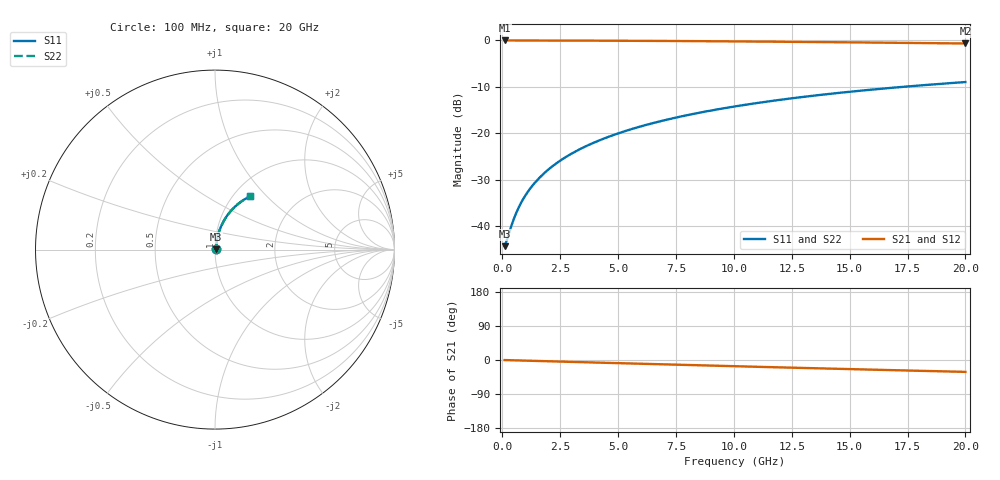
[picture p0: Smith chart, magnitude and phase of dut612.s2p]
! Touchstone file exported from HFSS 2026.1.0
!  File:  C:/ffzhzh/LocalFiles/Ansys_Project_Files/temp_train_TMRDL_612_1783008814_4048.aedt
!  Generated:  12:15:03 AM Jul  3, 2026
!  Design:  TMRDL
!  Project:  temp_train_TMRDL_612_1783008814_4048
! Variables:
!  h_bsmrdl = 2um
!  h_ox = 20um
!  h_rdl = 5um
!  h_sub = 80um
!  h_tmrdl = 2.46um
!  h_tsv = 80um
!  h_via = 3um
!  l_bsmrdl = 300um
!  l_sub = 806.06um
!  l_tmrdl = 406.06um
!  m_sub = 200um
!  pitch = 33.23um
!  r_tsv = 6um
!  s_tmrdl = 10um
!  w_bsmrdl = 18um
!  w_sub = 500um
!  w_tmrdl = 10.34um
!  x_tsv_center1 = 411.23um
!  x_tsv_center2 = 729.23um
!  x_tsv_center3 = 1145.63um
!  x_tsv_center4 = 1463.63um
!  x_tsv_center5 = 1880.03um
!  x_tsv_center6 = 2198.03um
# GHz S MA R 50.000000
! Terminal data exported
! Port[1] = TM_RDL1_1_T1
! Port[2] = TM_RDL1_1_T2
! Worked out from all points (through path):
!   200 points, 100 MHz to 20 GHz, reference 50 ohm
!   highest |S21| = -0.05 dB at 100 MHz (marker M1); lowest = -0.7 dB at 20 GHz (marker M2)
!   group delay of S21, straight-line fit = 4.36 ps
!   lowest |S11| = -44.3 dB at 100 MHz (marker M3), VSWR 1.01, Z = 50.6 + j0.212 ohm
!   |S11| at or under -10 dB: start of sweep to 17.35 GHz
!   |S22| runs from -44.3 to -9.0 dB; largest |S21 - S12| = 4.4e-15
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0.1  0.006124 20.0  0.9943 -0.2  0.9943 -0.2  0.006124 20.0
! Gamma 0 0 0 0
! Port Impedance 50 0 50 0
0.2  0.007157 35.8  0.9942 -0.3  0.9942 -0.3  0.007157 35.8
0.4  0.01026 54.3  0.9941 -0.7  0.9941 -0.7  0.01026 54.3
0.5  0.01204 59.5  0.994 -0.9  0.994 -0.9  0.01204 59.5
0.7  0.01578 66.0  0.9938 -1.2  0.9938 -1.2  0.01578 66.0
0.8  0.01769 68.2  0.9937 -1.4  0.9937 -1.4  0.01769 68.2
1  0.02153 71.2  0.9935 -1.7  0.9935 -1.7  0.02153 71.2
1.3  0.02734 74.1  0.9932 -2.2  0.9932 -2.2  0.02734 74.1
1.7  0.03513 76.2  0.9928 -2.9  0.9928 -2.9  0.03513 76.2
2.2  0.04491 77.6  0.9922 -3.7  0.9922 -3.7  0.04491 77.6
2.8  0.05668 78.3  0.9915 -4.7  0.9915 -4.7  0.05668 78.3
3.5  0.07041 78.4  0.9904 -5.8  0.9904 -5.8  0.07041 78.4
4.2  0.0841 78.0  0.9892 -7.0  0.9892 -7.0  0.0841 78.0
5  0.09967 77.4  0.9875 -8.3  0.9875 -8.3  0.09967 77.4
5.9  0.117 76.4  0.9854 -9.8  0.9854 -9.8  0.117 76.4
6.8  0.1342 75.3  0.9829 -11.2  0.9829 -11.2  0.1342 75.3
8.3  0.1624 73.3  0.9782 -13.7  0.9782 -13.7  0.1624 73.3
10.1  0.1954 70.8  0.9715 -16.5  0.9715 -16.5  0.1954 70.7
11.7  0.2238 68.5  0.9648 -19.0  0.9648 -19.0  0.2238 68.4
13.4  0.2529 66.0  0.957 -21.7  0.957 -21.7  0.2529 65.9
16.7  0.3062 61.3  0.9403 -26.6  0.9403 -26.6  0.3063 61.2
20  0.3552 56.7  0.9222 -31.3  0.9222 -31.3  0.3552 56.6
